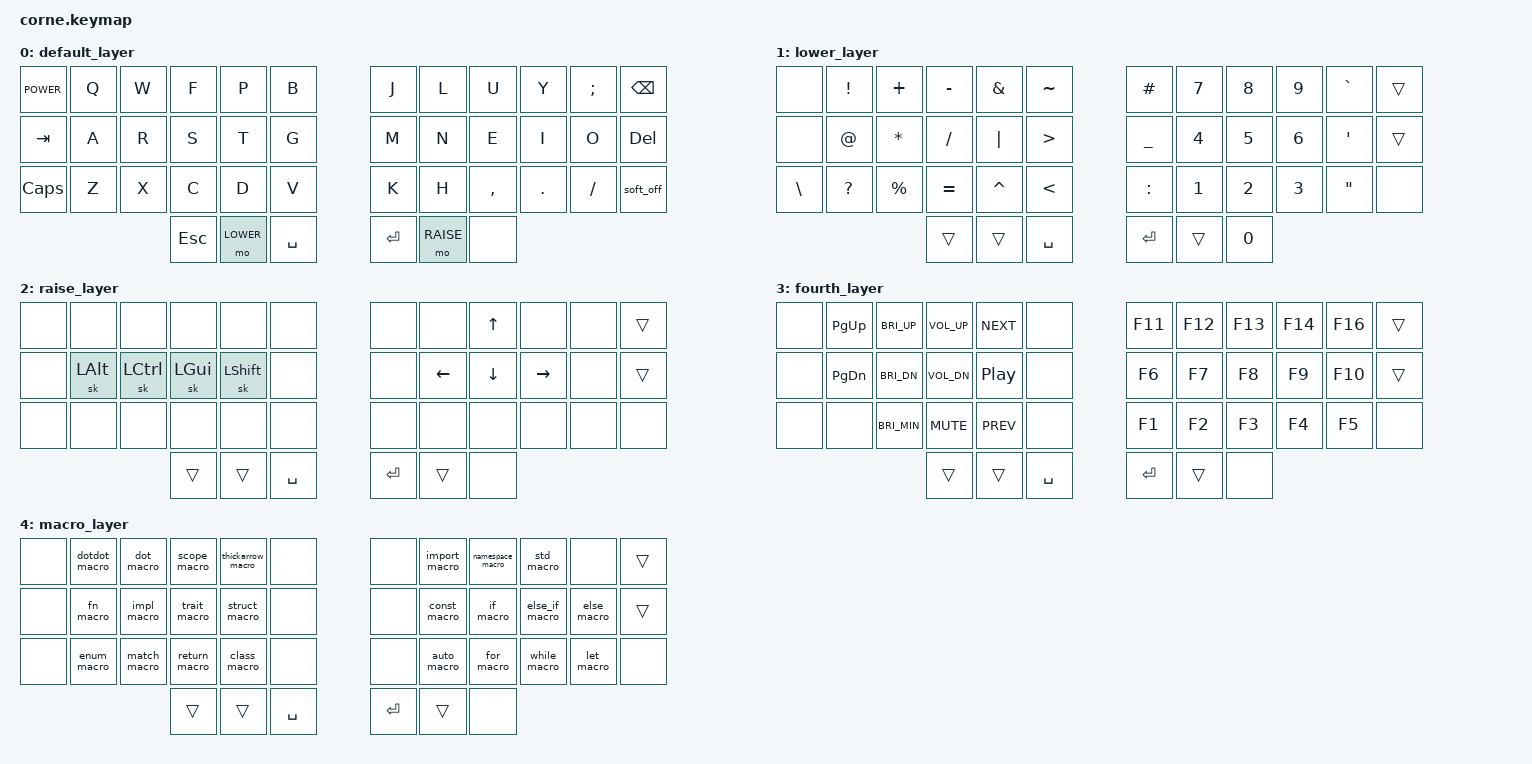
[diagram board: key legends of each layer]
/*
 * Copyright (c) 2020 The ZMK Contributors
 *
 * SPDX-License-Identifier: MIT
 */

#include <behaviors.dtsi>
#include <dt-bindings/zmk/keys.h>
#include <dt-bindings/zmk/bt.h>

#define DEFAULT 0
#define LOWER 1
#define RAISE 2

/ {
        macros {
                import_macro: import_macro {
                        compatible = "zmk,behavior-macro";
                        #binding-cells = <0>;
                        bindings = <&kp I &kp M &kp P &kp O &kp R &kp T>;
                };
                class_macro: class_macro {
                        compatible = "zmk,behavior-macro";
                        #binding-cells = <0>;
                        bindings = <&kp C &kp L &kp A &kp S &kp S>;
                };
                match_macro: match_macro {
                        compatible = "zmk,behavior-macro";
                        #binding-cells = <0>;
                        bindings = <&kp M &kp A &kp T &kp C &kp H>;
                };
                struct_macro: struct_macro {
                        compatible = "zmk,behavior-macro";
                        #binding-cells = <0>;
                        bindings = <&kp S &kp T &kp R &kp U &kp C &kp T>;
                };
                return_macro: return_macro {
                        compatible = "zmk,behavior-macro";
                        #binding-cells = <0>;
                        bindings = <&kp R &kp E &kp T &kp U &kp R &kp N>;
                };
                let_macro: let_macro {
                        compatible = "zmk,behavior-macro";
                        #binding-cells = <0>;
                        bindings = <&kp L &kp E &kp T>;
                };
                pub_macro: pub_macro {
                        compatible = "zmk,behavior-macro";
                        #binding-cells = <0>;
                        bindings = <&kp P &kp U &kp B>;
                };
                fn_macro: fn_macro {
                        compatible = "zmk,behavior-macro";
                        #binding-cells = <0>;
                        bindings = <&kp F &kp N &kp SPACE>;
                };
                impl_macro: impl_macro {
                        compatible = "zmk,behavior-macro";
                        #binding-cells = <0>;
                        bindings = <&kp I &kp M &kp P &kp L &kp SPACE>;
                };
                trait_macro: trait_macro {
                        compatible = "zmk,behavior-macro";
                        #binding-cells = <0>;
                        bindings = <&kp T &kp R &kp A &kp I &kp T &kp SPACE>;
                };
                enum_macro: enum_macro {
                        compatible = "zmk,behavior-macro";
                        #binding-cells = <0>;
                        bindings = <&kp E &kp N &kp U &kp M &kp SPACE>;
                };                
                var_macro: var_macro {
                        compatible = "zmk,behavior-macro";
                        #binding-cells = <0>;
                        bindings = <&kp V &kp A &kp R &kp SPACE>;
                };               
                const_macro: const_macro {
                        compatible = "zmk,behavior-macro";
                        #binding-cells = <0>;
                        bindings = <&kp C &kp O &kp N &kp S &kp T &kp SPACE>;
                };
                auto_macro: auto_macro {
                        compatible = "zmk,behavior-macro";
                        #binding-cells = <0>;
                        bindings = <&kp A &kp U &kp T &kp O &kp SPACE>;
                };
                namespace_macro: namespace_macro {
                        compatible = "zmk,behavior-macro";
                        #binding-cells = <0>;
                        bindings = <&kp N &kp A &kp M &kp E &kp S &kp P &kp A &kp C &kp E &kp SPACE>;
                };                
                if_macro: if_macro {
                        compatible = "zmk,behavior-macro";
                        #binding-cells = <0>;
                        bindings = <&kp I &kp F &kp SPACE>;
                };
                for_macro: for_macro {
                        compatible = "zmk,behavior-macro";
                        #binding-cells = <0>;
                        bindings = <&kp F &kp O &kp R &kp SPACE>;
                };
                while_macro: while_macro {
                        compatible = "zmk,behavior-macro";
                        #binding-cells = <0>;
                        bindings = <&kp W &kp H &kp I &kp L &kp E &kp SPACE>;
                };                
                else_macro: else_macro {
                        compatible = "zmk,behavior-macro";
                        #binding-cells = <0>;
                        bindings = <&kp E &kp L &kp S &kp E &kp SPACE>;
                };
                else_if_macro: else_if_macro {
                        compatible = "zmk,behavior-macro";
                        #binding-cells = <0>;
                        bindings = <&kp E &kp L &kp S &kp E &kp SPACE &kp I &kp F &kp SPACE>;
                };
                std_macro: std_macro {
                        compatible = "zmk,behavior-macro";
                        #binding-cells = <0>;
                        bindings = <&kp S &kp T &kp D &kp COLON &kp COLON>;
                };
                dotdot_macro: dotdot_macro {
                        compatible = "zmk,behavior-macro";
                        #binding-cells = <0>;
                        bindings = <&kp DOT &kp DOT &kp FSLH>;
                };
                dot_macro: dot_macro {
                        compatible = "zmk,behavior-macro";
                        #binding-cells = <0>;
                        bindings = <&kp DOT &kp FSLH>;
                };
                scope_macro: scope_macro {
                        compatible = "zmk,behavior-macro";
                        #binding-cells = <0>;
                        bindings = <&kp COLON &kp COLON>;
                };
                thickarrow_macro: thickarrow_macro {
                        compatible = "zmk,behavior-macro";
                        #binding-cells = <0>;
                        bindings = <&kp EQUAL &kp GT>;
                };
        };
        
        combos {
                compatible = "zmk,combos";
                combo_left_paren {
                        timeout-ms = <50>;
                        key-positions = <3 4>;
                        bindings = <&kp LPAR>;
                };
                combo_right_paren {
                        timeout-ms = <50>;
                        key-positions = <7 8>;
                        bindings = <&kp RPAR>;
                };
                combo_left_bracket {
                        timeout-ms = <50>;
                        key-positions = <15 16>;
                        bindings = <&kp LBKT>;
                };
                combo_right_bracket {
                        timeout-ms = <50>;
                        key-positions = <19 20>;
                        bindings = <&kp RBKT>;
                };
                combo_left_brace {
                        timeout-ms = <50>;
                        key-positions = <27 28>;
                        bindings = <&kp LBRC>;
                };
                combo_right_brace {
                        timeout-ms = <50>;
                        key-positions = <31 32>;
                        bindings = <&kp RBRC>;
                };
        };

        conditional_layers {
                compatible = "zmk,conditional-layers";
                tri_layer {
                        if-layers = <1 2>;
                        then-layer = <3>;
                };
        };

        behaviors {
                sk {
                        release-after-ms = <5000>;
                        quick-release;
                };
        };

        keymap {
                compatible = "zmk,keymap";

                default_layer {
                        display-name = "default_layer";
// ---------------------------------------------------------------------------------------------------------------------
// |  POWER     |  Q   |  W   |  F     |  P      |  B   |   |  J    |  L        |  U       |  Y    |  ;       | BSPC   |
// |  TAB       |  A   |  R   |  S     |  T      |  G   |   |  M    |  N        |  E       |  I    |  O       | DEL    |
// |  CAPS      |  Z   |  X   |  C     |  D      |  V   |   |  K    |  H        |  ,       |  .    |  /       | KB_OFF |
//                            |  ESC   |  L1     |  SPC |   |  ENT  |  L2       |          |
// ---------------------------------------------------------------------------------------------------------------------
                        bindings = <
   &kp K_POWER  &kp Q  &kp W  &kp F    &kp P     &kp B      &kp J    &kp L      &kp U      &kp Y    &kp SEMI  &kp BSPC
   &kp TAB      &kp A  &kp R  &kp S    &kp T     &kp G      &kp M    &kp N      &kp E      &kp I    &kp O     &kp DEL
   &kp CAPS     &kp Z  &kp X  &kp C    &kp D     &kp V      &kp K    &kp H      &kp COMMA  &kp DOT  &kp FSLH  &soft_off
                              &kp ESC  &mo LOWER &kp SPACE  &kp RET  &mo RAISE  &none
                        >;
                };

                lower_layer {
                        display-name = "lower_layer";
// ------------------------------------------------------------------------------------------------------------
// |        |  !        |  +       |  -       |  &       |  ~  |    |  #       |  7  |  8  |  9  |  `  |      |
// |        |  @        |  *       |  /       | "|"      |  >  |    |  _       |  4  |  5  |  6  |  '  |      |
// |  \     |  ?        |  %       |  =       |  ^       |  <  |    |  :       |  1  |  2  |  3  |  "  |      |
//                                 |          |          | SPC |    | ENT      |     |  0  |
// ------------------------------------------------------------------------------------------------------------
                        bindings = <
   &none     &kp EXCL   &kp PLUS   &kp MINUS  &kp AMPS   &kp TILDE  &kp HASH   &kp N7  &kp N8  &kp N9  &kp GRAVE  &trans
   &none     &kp AT     &kp STAR   &kp FSLH   &kp PIPE   &kp GT     &kp UNDER  &kp N4  &kp N5  &kp N6  &kp SQT    &trans
   &kp BSLH  &kp QMARK  &kp PRCNT  &kp EQUAL  &kp CARET  &kp LT     &kp COLON  &kp N1  &kp N2  &kp N3  &kp DQT    &none
                        &trans     &trans     &kp SPACE  &kp RET    &trans     &kp N0
                        >;
                };

                raise_layer {
                        display-name = "raise_layer";
// --------------------------------------------------------------------------------------------------------------------
// |     |          |          |         |           |      |   |       |         |  UP     |          |       |      |
// |     |  ALT     |  CTRL    |  CMD    |  SHIFT    |      |   |       |  LEFT   |  DOWN   |  RIGHT   |       |      |
// |     |          |          |         |           |      |   |       |         |         |          |       |      |
//                             |         |           |  SPC |   |  ENT  |         |         |
// --------------------------------------------------------------------------------------------------------------------
                        bindings = <
   &none  &none     &none      &none     &none       &none      &none    &none     &kp UP    &none      &none  &trans
   &none  &sk LALT  &sk LCTRL  &sk LGUI  &sk LSHIFT  &none      &none    &kp LEFT  &kp DOWN  &kp RIGHT  &none  &trans
   &none  &none     &none      &none     &none       &none      &none    &none     &none     &none      &none  &none
                               &trans    &trans      &kp SPACE  &kp RET  &trans    &none
                        >;
                };

                fourth_layer {
                        display-name = "fourth_layer";
// -----------------------------------------------------------------------------------------
// |     | PAGE_UP   | C_BRI_UP  | VOL_UP   | NEXT       |     |    | F11 | F12 | F13 | F14 | F16 |     |
// |     | PAGE_DOWN | C_BRI_DEC | VOL_DOWN | PAUSE/PLAY |     |    | F6  | F7  | F8  |  F9 | F10 |     |
// |     |           | C_BRI_MIN | MUTE     | PREV       |     |    | F1  | F2  | F3  |  F4 | F5  |     |
//                               |          |            | SPC |    | ENT |     |     |
// ---------------------------------------------------------------------------------------------------------------------
                        bindings = <
   &none     &kp PG_UP    &kp C_BRI_UP &kp C_VOL_UP &kp C_NEXT     &none         &kp F11        &kp F12        &kp F13        &kp F14      &kp F16      &trans
   &none     &kp PG_DN    &kp C_BRI_DN  &kp C_VOL_DN &kp C_PP       &none         &kp F6         &kp F7         &kp F8         &kp F9       &kp F10      &trans
   &none     &none        &kp C_BRI_MIN &kp C_MUTE  &kp C_PREV     &none         &kp F1         &kp F2         &kp F3         &kp F4       &kp F5       &none
                                        &trans       &trans         &kp SPACE      &kp RET        &trans         &none
                        >;
                };

                fifth_layer {
                        display-name = "macro_layer";
// -----------------------------------------------------------------------------------------
// |      | ../   | ./    | ::     | =>     |     |   |     | import | namespace | std::   |      |     |
// |      | fn    | impl  | trait  | struct |     |   |     | const  | if        | else if | else |     |
// |      | enum  | match | return | class  |     |   |     | auto   | for       | while   | let  |     |
//                        |        |        | SPC |   | ENT |        |           |
// ---------------------------------------------------------------------------------------------------------------------
                        bindings = <
   &none     &dotdot_macro &dot_macro   &scope_macro  &thickarrow_macro &none        &none      &import_macro  &namespace_macro &std_macro   &none       &trans
   &none     &fn_macro     &impl_macro  &trait_macro  &struct_macro     &none        &none      &const_macro  &if_macro      &else_if_macro &else_macro  &trans
   &none     &enum_macro   &match_macro &return_macro &class_macro      &none        &none      &auto_macro   &for_macro     &while_macro  &let_macro   &none
                                         &trans        &trans            &kp SPACE     &kp RET     &trans         &none
                        >;
                };
        };
};
